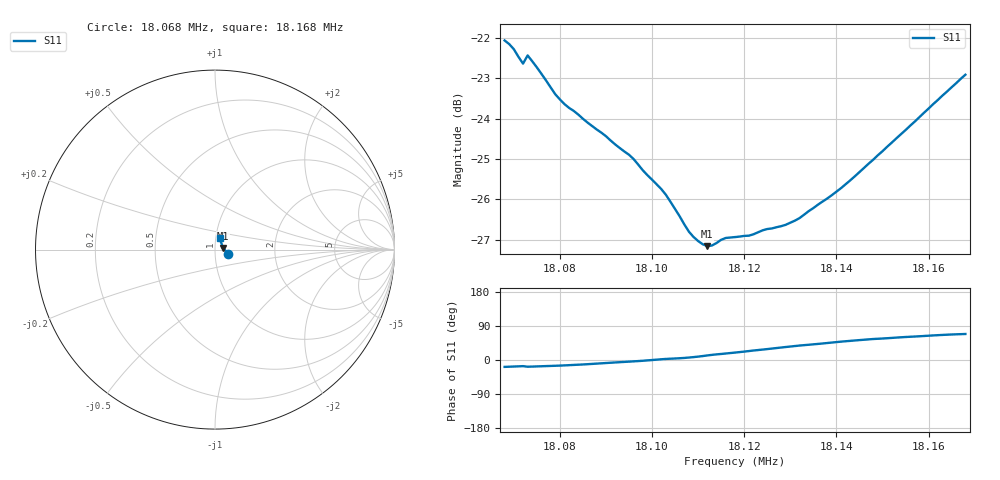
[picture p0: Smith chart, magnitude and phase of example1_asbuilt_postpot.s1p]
!File created by NanoVNA-F
# HZ S RI R 50
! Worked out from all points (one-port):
!   101 points, 18.068 MHz to 18.168 MHz, reference 50 ohm
!   lowest |S11| = -27.2 dB at 18.112 MHz (marker M1), VSWR 1.09, Z = 54.5 + j1 ohm
!   |S11| at or under -10 dB: start of sweep to end of sweep
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1.8068e7  0.0749 -0.0246
1.807e7  0.0734 -0.0227
1.8072e7  0.0708 -0.0206
1.8073e7  0.0719 -0.023
1.8075e7  0.0698 -0.0212
1.8079e7  0.0652 -0.0178
1.8081e7  0.0637 -0.0162
1.8094e7  0.0572 -0.00504
1.8096e7  0.0561 -0.00352
1.8098e7  0.0544 -0.00192
1.8102e7  0.0516 0.00175
1.8103e7  0.0507 0.00248
1.8106e7  0.0476 0.00389
1.8108e7  0.0454 0.00516
1.8109e7  0.0446 0.00599
1.8111e7  0.0434 0.00796
1.8112e7  0.0429 0.00917
1.8113e7  0.0427 0.0103
1.8116e7  0.0429 0.0132
1.8119e7  0.0421 0.016
1.8121e7  0.0414 0.0181
1.8124e7  0.0407 0.0212
1.8129e7  0.0385 0.0262
1.8131e7  0.0378 0.0283
1.8139e7  0.0352 0.0365
1.8144e7  0.0333 0.0419
1.8156e7  0.0297 0.0542
1.8168e7  0.0261 0.0666
